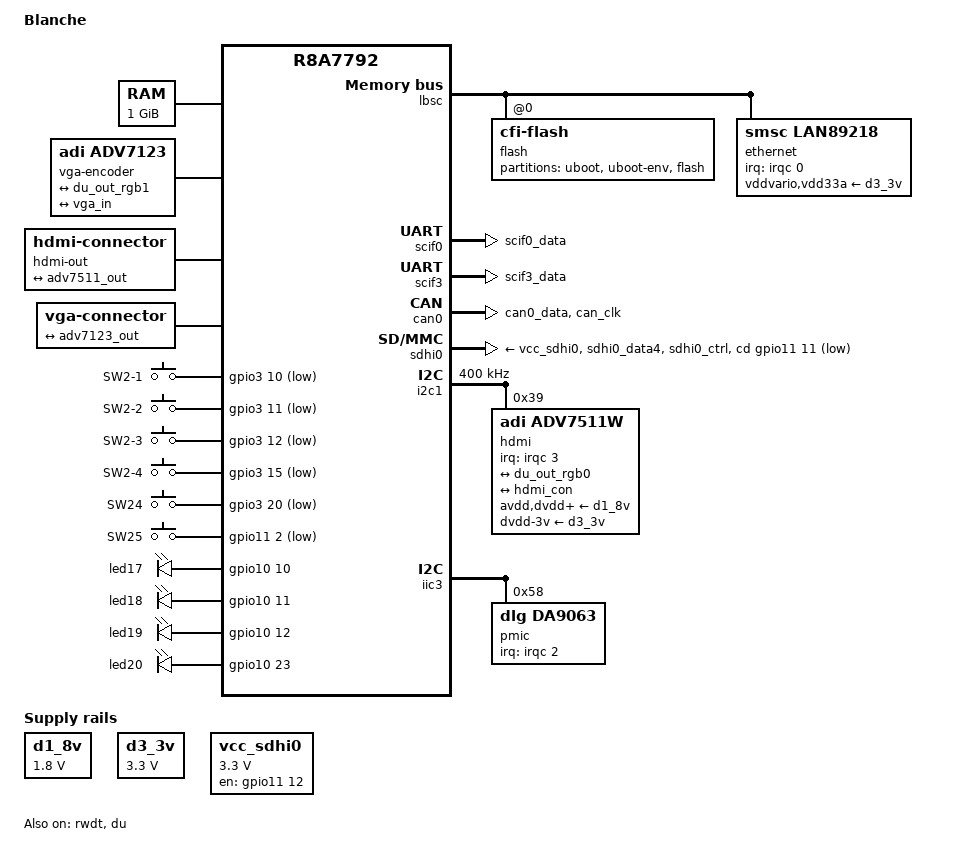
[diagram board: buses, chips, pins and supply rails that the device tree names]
// SPDX-License-Identifier: GPL-2.0
/*
 * Device Tree Source for the Blanche board
 *
 * Copyright (C) 2014 Renesas Electronics Corporation
 * Copyright (C) 2016 Cogent  Embedded, Inc.
 */

/dts-v1/;
#include "r8a7792.dtsi"
#include <dt-bindings/gpio/gpio.h>
#include <dt-bindings/input/input.h>

/ {
	model = "Blanche";
	compatible = "renesas,blanche", "renesas,r8a7792";

	aliases {
		serial0 = &scif0;
		serial1 = &scif3;
	};

	chosen {
		bootargs = "ignore_loglevel rw root=/dev/nfs ip=on";
		stdout-path = "serial0:115200n8";
	};

	memory@40000000 {
		device_type = "memory";
		reg = <0 0x40000000 0 0x40000000>;
	};

	d1_8v: regulator-1v8 {
		compatible = "regulator-fixed";
		regulator-name = "D1.8V";
		regulator-min-microvolt = <1800000>;
		regulator-max-microvolt = <1800000>;
		regulator-boot-on;
		regulator-always-on;
	};

	d3_3v: regulator-3v3 {
		compatible = "regulator-fixed";
		regulator-name = "D3.3V";
		regulator-min-microvolt = <3300000>;
		regulator-max-microvolt = <3300000>;
		regulator-boot-on;
		regulator-always-on;
	};

	vga-encoder {
		compatible = "adi,adv7123";

		ports {
			#address-cells = <1>;
			#size-cells = <0>;

			port@0 {
				reg = <0>;
				adv7123_in: endpoint {
					remote-endpoint = <&du_out_rgb1>;
				};
			};
			port@1 {
				reg = <1>;
				adv7123_out: endpoint {
					remote-endpoint = <&vga_in>;
				};
			};
		};
	};

	hdmi-out {
		compatible = "hdmi-connector";
		type = "a";

		port {
			hdmi_con: endpoint {
				remote-endpoint = <&adv7511_out>;
			};
		};
	};

	vga {
		compatible = "vga-connector";

		port {
			vga_in: endpoint {
				remote-endpoint = <&adv7123_out>;
			};
		};
	};

	x1_clk: x1 {
		compatible = "fixed-clock";
		#clock-cells = <0>;
		clock-frequency = <74250000>;
	};

	x2_clk: x2 {
		compatible = "fixed-clock";
		#clock-cells = <0>;
		clock-frequency = <65000000>;
	};

	keyboard {
		compatible = "gpio-keys";

		pinctrl-0 = <&keyboard_pins>;
		pinctrl-names = "default";

		key-1 {
			linux,code = <KEY_1>;
			label = "SW2-1";
			wakeup-source;
			debounce-interval = <20>;
			gpios = <&gpio3 10 GPIO_ACTIVE_LOW>;
		};
		key-2 {
			linux,code = <KEY_2>;
			label = "SW2-2";
			wakeup-source;
			debounce-interval = <20>;
			gpios = <&gpio3 11 GPIO_ACTIVE_LOW>;
		};
		key-3 {
			linux,code = <KEY_3>;
			label = "SW2-3";
			wakeup-source;
			debounce-interval = <20>;
			gpios = <&gpio3 12 GPIO_ACTIVE_LOW>;
		};
		key-4 {
			linux,code = <KEY_4>;
			label = "SW2-4";
			wakeup-source;
			debounce-interval = <20>;
			gpios = <&gpio3 15 GPIO_ACTIVE_LOW>;
		};
		key-a {
			linux,code = <KEY_A>;
			label = "SW24";
			wakeup-source;
			debounce-interval = <20>;
			gpios = <&gpio3 20 GPIO_ACTIVE_LOW>;
		};
		key-b {
			linux,code = <KEY_B>;
			label = "SW25";
			wakeup-source;
			debounce-interval = <20>;
			gpios = <&gpio11 2 GPIO_ACTIVE_LOW>;
		};
	};

	leds {
		compatible = "gpio-leds";

		led17 {
			gpios = <&gpio10 10 GPIO_ACTIVE_HIGH>;
		};
		led18 {
			gpios = <&gpio10 11 GPIO_ACTIVE_HIGH>;
		};
		led19 {
			gpios = <&gpio10 12 GPIO_ACTIVE_HIGH>;
		};
		led20 {
			gpios = <&gpio10 23 GPIO_ACTIVE_HIGH>;
		};
	};

	vcc_sdhi0: regulator-vcc-sdhi0 {
		compatible = "regulator-fixed";

		regulator-name = "SDHI0 Vcc";
		regulator-min-microvolt = <3300000>;
		regulator-max-microvolt = <3300000>;

		gpio = <&gpio11 12 GPIO_ACTIVE_HIGH>;
		enable-active-high;
	};
};

&extal_clk {
	clock-frequency = <20000000>;
};

&can_clk {
	clock-frequency = <48000000>;
};

&lbsc {
	flash@0 {
		compatible = "cfi-flash";
		reg = <0x00000000 0x04000000>;
		pinctrl-0 = <&flash_pins>;
		pinctrl-names = "default";
		bank-width = <2>;

		partitions {
			compatible = "fixed-partitions";
			#address-cells = <1>;
			#size-cells = <1>;

			partition@0 {
				label = "uboot";
				reg = <0x00000000 0x00040000>;
				read-only;
			};
			partition@40000 {
				label = "uboot-env";
				reg = <0x00040000 0x00040000>;
				read-only;
			};
			partition@80000 {
				label = "flash";
				reg = <0x00080000 0x03f80000>;
			};
		};
	};

	ethernet@18000000 {
		compatible = "smsc,lan89218", "smsc,lan9115";
		reg = <0x18000000 0x100>;
		phy-mode = "mii";
		interrupt-parent = <&irqc>;
		interrupts = <0 IRQ_TYPE_EDGE_FALLING>;
		smsc,irq-push-pull;
		reg-io-width = <4>;
		vddvario-supply = <&d3_3v>;
		vdd33a-supply = <&d3_3v>;

		pinctrl-0 = <&lan89218_pins>;
		pinctrl-names = "default";
	};
};

&pfc {
	scif0_pins: scif0 {
		groups = "scif0_data";
		function = "scif0";
	};

	scif3_pins: scif3 {
		groups = "scif3_data";
		function = "scif3";
	};

	lan89218_pins: lan89218 {
		intc {
			groups = "intc_irq0";
			function = "intc";
		};
		lbsc {
			groups = "lbsc_ex_cs0";
			function = "lbsc";
		};
	};

	can0_pins: can0 {
		groups = "can0_data", "can_clk";
		function = "can0";
	};

	sdhi0_pins: sdhi0 {
		groups = "sdhi0_data4", "sdhi0_ctrl";
		function = "sdhi0";
	};

	du0_pins: du0 {
		groups = "du0_rgb888", "du0_sync", "du0_disp";
		function = "du0";
	};

	du1_pins: du1 {
		groups = "du1_rgb666", "du1_sync", "du1_disp";
		function = "du1";
	};

	flash_pins: flash {
		groups = "lbsc_cs0";
		function = "lbsc";
	};

	keyboard_pins: keyboard {
		pins = "GP_3_10", "GP_3_11", "GP_3_12", "GP_3_15", "GP_11_2";
		bias-pull-up;
	};

	pmic_irq_pins: pmicirq {
		groups = "intc_irq2";
		function = "intc";
	};
};

&rwdt {
	timeout-sec = <60>;
	status = "okay";
};

&scif0 {
	pinctrl-0 = <&scif0_pins>;
	pinctrl-names = "default";

	status = "okay";
};

&scif3 {
	pinctrl-0 = <&scif3_pins>;
	pinctrl-names = "default";

	status = "okay";
};

&can0 {
	pinctrl-0 = <&can0_pins>;
	pinctrl-names = "default";

	status = "okay";
};

&sdhi0 {
	pinctrl-0 = <&sdhi0_pins>;
	pinctrl-names = "default";

	vmmc-supply = <&vcc_sdhi0>;
	cd-gpios = <&gpio11 11 GPIO_ACTIVE_LOW>;
	status = "okay";
};

&i2c1 {
	status = "okay";
	clock-frequency = <400000>;

	hdmi@39 {
		compatible = "adi,adv7511w";
		reg = <0x39>;
		interrupt-parent = <&irqc>;
		interrupts = <3 IRQ_TYPE_EDGE_FALLING>;

		avdd-supply = <&d1_8v>;
		dvdd-supply = <&d1_8v>;
		pvdd-supply = <&d1_8v>;
		dvdd-3v-supply = <&d3_3v>;
		bgvdd-supply = <&d1_8v>;

		adi,input-depth = <8>;
		adi,input-colorspace = "rgb";
		adi,input-clock = "1x";

		ports {
			#address-cells = <1>;
			#size-cells = <0>;

			port@0 {
				reg = <0>;
				adv7511_in: endpoint {
					remote-endpoint = <&du_out_rgb0>;
				};
			};

			port@1 {
				reg = <1>;
				adv7511_out: endpoint {
					remote-endpoint = <&hdmi_con>;
				};
			};
		};
	};
};

&iic3 {
	status = "okay";

	pmic@58 {
		compatible = "dlg,da9063";
		reg = <0x58>;
		pinctrl-names = "default";
		pinctrl-0 = <&pmic_irq_pins>;
		interrupt-parent = <&irqc>;
		interrupts = <2 IRQ_TYPE_LEVEL_LOW>;
		interrupt-controller;
		#interrupt-cells = <2>;

		rtc {
			compatible = "dlg,da9063-rtc";
		};

		watchdog {
			compatible = "dlg,da9063-watchdog";
		};
	};
};

&du {
	pinctrl-0 = <&du0_pins>, <&du1_pins>;
	pinctrl-names = "default";

	clocks = <&cpg CPG_MOD 724>, <&cpg CPG_MOD 723>, <&x1_clk>, <&x2_clk>;
	clock-names = "du.0", "du.1", "dclkin.0", "dclkin.1";
	status = "okay";

	ports {
		port@0 {
			endpoint {
				remote-endpoint = <&adv7511_in>;
			};
		};
		port@1 {
			endpoint {
				remote-endpoint = <&adv7123_in>;
			};
		};
	};
};
